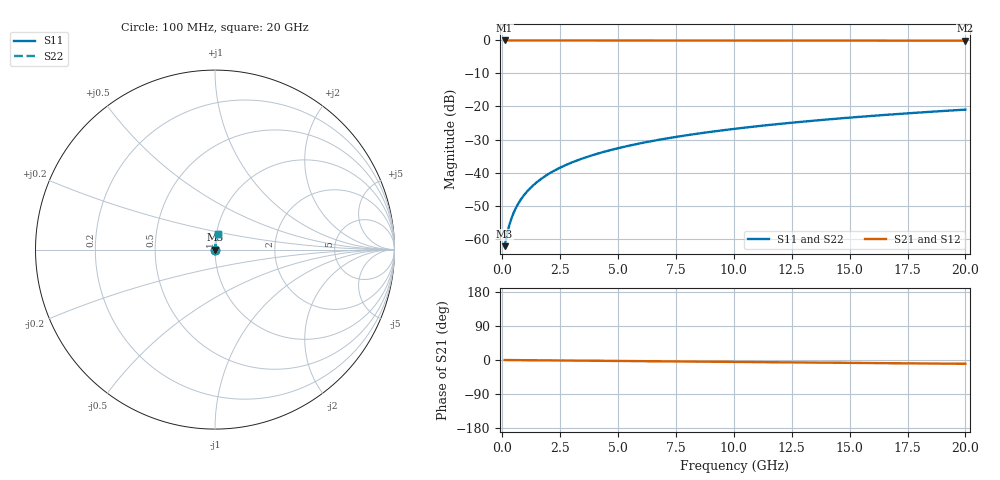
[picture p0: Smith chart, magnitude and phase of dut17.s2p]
! Touchstone file exported from HFSS 2026.1.0
!  File:  C:/ffzhzh/LocalFiles/Ansys_Project_Files/temp_train_TSV_17_1782958079_45568.aedt
!  Generated:  10:09:58 AM Jul  2, 2026
!  Design:  TSV
!  Project:  temp_train_TSV_17_1782958079_45568
! Variables:
!  h_bsmrdl = 2um
!  h_ox = 20um
!  h_rdl = 5um
!  h_sub = 85.69um
!  h_tmrdl = 5um
!  h_tsv = 85.69um
!  h_via = 3um
!  l_bsmrdl = 300um
!  l_sub = 408.36um
!  l_tmrdl = 200um
!  m_sub = 200um
!  pitch = 41.12um
!  r_tsv = 4.18um
!  s_tmrdl = 10um
!  w_bsmrdl = 18um
!  w_sub = 500um
!  w_tmrdl = 12um
!  x_tsv_center1 = 206um
!  x_tsv_center2 = 524um
!  x_tsv_center3 = 736um
!  x_tsv_center4 = 1054um
!  x_tsv_center5 = 1266um
!  x_tsv_center6 = 1584um
# GHz S MA R 50.000000
! Terminal data exported
! Port[1] = TSV1_1_T1
! Port[2] = TSV1_1_T2
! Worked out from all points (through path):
!   200 points, 100 MHz to 20 GHz, reference 50 ohm
!   highest |S21| = -0.01 dB at 100 MHz (marker M1); lowest = -0.1 dB at 20 GHz (marker M2)
!   group delay of S21, straight-line fit = 1.39 ps
!   lowest |S11| = -62.3 dB at 100 MHz (marker M3), VSWR 1.00, Z = 50.1 + j0.0493 ohm
!   |S11| at or under -10 dB: start of sweep to end of sweep
!   |S22| runs from -62.3 to -20.9 dB; largest |S21 - S12| = 3.1e-15
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0.1  0.0007678 39.9  0.9994 -0.1  0.9994 -0.1  0.0007678 39.9
! Gamma 0 0 0 0
! Port Impedance 50 0 50 0
0.2  0.00115 58.5  0.9994 -0.1  0.9994 -0.1  0.00115 58.5
0.3  0.001588 67.2  0.9994 -0.2  0.9994 -0.2  0.001588 67.2
0.4  0.002043 72.0  0.9994 -0.2  0.9994 -0.2  0.002043 72.0
0.5  0.002504 75.0  0.9994 -0.3  0.9994 -0.3  0.002504 75.0
0.6  0.002968 77.0  0.9993 -0.3  0.9993 -0.3  0.002968 77.0
0.8  0.0039 79.7  0.9993 -0.4  0.9993 -0.4  0.0039 79.7
1.1  0.005305 81.8  0.9993 -0.6  0.9993 -0.6  0.005305 81.8
1.5  0.007183 83.3  0.9992 -0.8  0.9992 -0.8  0.007183 83.3
1.8  0.008591 83.9  0.9992 -0.9  0.9992 -0.9  0.008591 83.9
2.1  0.009996 84.2  0.9991 -1.1  0.9991 -1.1  0.009996 84.2
2.7  0.01279 84.5  0.999 -1.4  0.999 -1.4  0.01279 84.5
3.5  0.0165 84.6  0.9988 -1.8  0.9988 -1.8  0.0165 84.6
4.2  0.01971 84.5  0.9987 -2.2  0.9987 -2.2  0.01971 84.5
5  0.02336 84.3  0.9984 -2.6  0.9984 -2.6  0.02336 84.3
5.9  0.02743 84.0  0.9982 -3.0  0.9982 -3.0  0.02743 84.0
6.8  0.03148 83.7  0.998 -3.5  0.998 -3.5  0.03148 83.7
8.3  0.03819 83.2  0.9975 -4.2  0.9975 -4.2  0.03819 83.2
10.1  0.04621 82.5  0.997 -5.1  0.997 -5.1  0.04621 82.5
13.4  0.06082 81.2  0.996 -6.8  0.996 -6.8  0.06082 81.2
16.7  0.07531 79.8  0.9947 -8.4  0.9947 -8.4  0.07531 79.8
20  0.08967 78.3  0.9933 -10.0  0.9933 -10.0  0.08967 78.3
